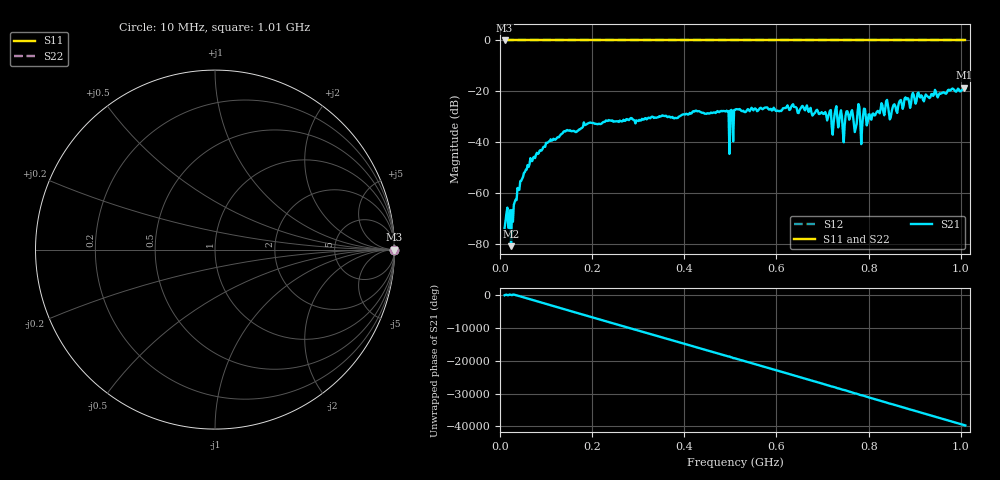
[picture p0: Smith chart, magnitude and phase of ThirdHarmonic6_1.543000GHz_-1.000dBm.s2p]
! 8/16/2025 6:18:20 PM
! C:\ANRITSUVNA\TEMP\TEMP.S2P
! CHANNEL.1
! TR.MEASUREMENT
! RAW.DATA
! RF.CORRECTION.OFF
! AVERAGING.OFF
! IF.BANDWIDTH: 5KHZ
! SWEEPTYPE:  FREQ.SWEEP(Linear)
! Reference Plane Port Info
! PORT:  PORT1  PORT2
! DISTANCE:  0  m  0  m
! TIME:  0  s  0  s
! PHASE.OFFSET:  0  deg.  0  deg.
! LOSS:  0  dB  0  dB
! REF.LOSS:  0  dB  0  dB
! REF.FREQ:  0  Hz  0  Hz
! Power Info
! POWER:  -20  dBm  -20  dBm
! EFF.POWER:  -20  dBm  -20  dBm
! SOURCE.ATTEN:  0  dB  0  dB
! TEST.ATTEN:  0  dB  0  dB
# GHZ S RI R 50.0
! FREQ.GHZ  S11RE  S11IM  S21RE  S21IM  S12RE  S12IM  S22RE  S22IM
!; PortSelection: Port_12
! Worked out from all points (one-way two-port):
!   501 points, 10 MHz to 1.01 GHz, reference 50 ohm
!   highest |S21| = -18.60 dB at 1.008 GHz (marker M1); lowest = -80.9 dB at 24 MHz (marker M2)
!   lowest |S11| = 0.0 dB at 10 MHz (marker M3)
!   |S11| at or under -10 dB: nowhere
!   |S22| runs from 0.0 to 0.0 dB; largest |S21 - S12| = 1.1
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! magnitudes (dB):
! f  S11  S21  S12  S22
! 10 MHz  0.0  -73.8  0.0  0.0
! 24 MHz  0.0  -80.9  0.0  0.0
! 42 MHz  0.0  -58.8  0.0  0.0
! 70 MHz  0.0  -47.5  0.0  0.0
! 178 MHz  0.0  -34.4  0.0  0.0
! 344 MHz  0.0  -30.2  0.0  0.0
! 492 MHz  0.0  -27.6  0.0  0.0
! 502 MHz  0.0  -27.3  0.0  0.0
! 510 MHz  0.0  -27.3  0.0  0.0
! 636 MHz  0.0  -25.1  0.0  0.0
! 678 MHz  0.0  -29.6  0.0  0.0
! 722 MHz  0.0  -37.1  0.0  0.0
! 728 MHz  0.0  -27.2  0.0  0.0
! 746 MHz  0.0  -40.1  0.0  0.0
! 754 MHz  0.0  -27.8  0.0  0.0
! 770 MHz  0.0  -36.0  0.0  0.0
! 778 MHz  0.0  -25.0  0.0  0.0
! 786 MHz  0.0  -33.6  0.0  0.0
! 790 MHz  0.0  -26.8  0.0  0.0
! 844 MHz  0.0  -28.5  0.0  0.0
! 1.008 GHz  0.0  -18.6  0.0  0.0
! 1.01 GHz  0.0  -18.9  0.0  0.0
